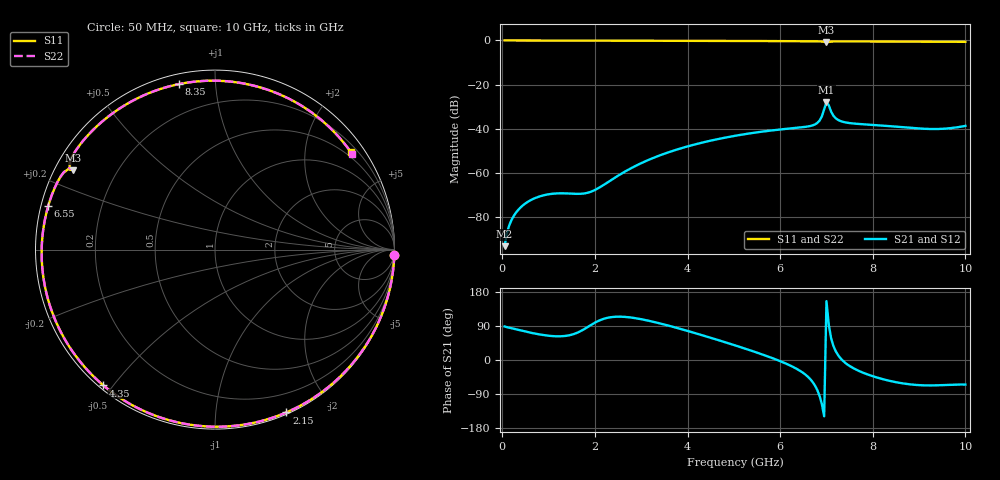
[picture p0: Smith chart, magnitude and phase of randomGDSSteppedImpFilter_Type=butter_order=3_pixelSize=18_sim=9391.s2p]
! freq	dB(S11)	phase(S11)	dB(S12)	phase(S12)
!  dB(S21)	phase(S21)	dB(S22)	phase(S22)
!S-par simulation data
#  GHz  S  DB  R 50
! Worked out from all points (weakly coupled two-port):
!   200 points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, 50 MHz to 10 GHz, reference 50 ohm
!   highest |S21| = -27.97 dB at 7 GHz (marker M1); lowest = -93.0 dB at 50 MHz (marker M2)
!   lowest |S11| = -0.9 dB at 7 GHz (marker M3), VSWR 20.15, Z = 2.65 + j13 ohm
!   |S11| at or under -10 dB: nowhere
!   |S22| runs from -0.9 to 0.0 dB; largest |S21 - S12| = 0
!   S11 on the Smith chart (normalised r, x): 50 MHz: 1, -71; 2.15 GHz: 0.02, -1.53; 4.35 GHz: 0.01, -0.47; 6.55 GHz: 0.02, +0.13; 8.35 GHz: 0.05, +0.81; 10 GHz: 0.38, +3.07
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0.05  -0.00 -1.6  -93.04 88.5  -93.04 88.5  -0.00 -1.6
0.2  -0.01 -6.4  -81.15 83.7  -81.15 83.7  -0.01 -6.4
0.5  -0.02 -15.8  -73.70 75.0  -73.70 75.0  -0.02 -15.8
0.8  -0.03 -25.2  -70.58 67.6  -70.58 67.6  -0.03 -25.2
1.75  -0.07 -54.4  -69.25 80.1  -69.25 80.1  -0.07 -54.4
2.15  -0.08 -66.3  -65.86 107.0  -65.86 107.0  -0.08 -66.3
2.8  -0.11 -85.4  -57.58 111.7  -57.58 111.7  -0.11 -85.4
3.4  -0.13 -102.6  -52.00 96.7  -52.00 96.7  -0.13 -102.6
4.35  -0.18 -129.4  -46.03 64.2  -46.03 64.2  -0.18 -129.4
5.05  -0.22 -149.3  -43.04 37.7  -43.04 37.7  -0.22 -149.3
5.85  -0.28 -172.7  -40.62 4.1  -40.62 4.1  -0.28 -172.9
6.55  -0.35 165.4  -39.07 -39.0  -39.07 -39.0  -0.35 165.2
6.7  -0.37 160.4  -38.42 -57.9  -38.42 -57.9  -0.37 160.1
6.85  -0.43 155.1  -36.26 -94.2  -36.26 -94.2  -0.43 154.8
6.9  -0.48 153.1  -34.37 -115.8  -34.37 -115.8  -0.48 152.8
7  -0.86 150.7  -27.97 155.3  -27.97 155.3  -0.87 150.5
7.15  -0.45 147.0  -34.04 37.1  -34.04 37.1  -0.45 146.7
7.3  -0.42 141.3  -36.43 5.0  -36.43 5.0  -0.42 141.0
7.85  -0.46 121.3  -38.00 -36.4  -38.00 -36.4  -0.46 120.8
8.35  -0.50 102.2  -38.74 -54.6  -38.74 -54.6  -0.50 101.7
9.15  -0.56 70.2  -39.99 -67.0  -39.99 -67.0  -0.56 69.6
10  -0.62 35.6  -38.65 -64.8  -38.65 -64.8  -0.62 34.9
